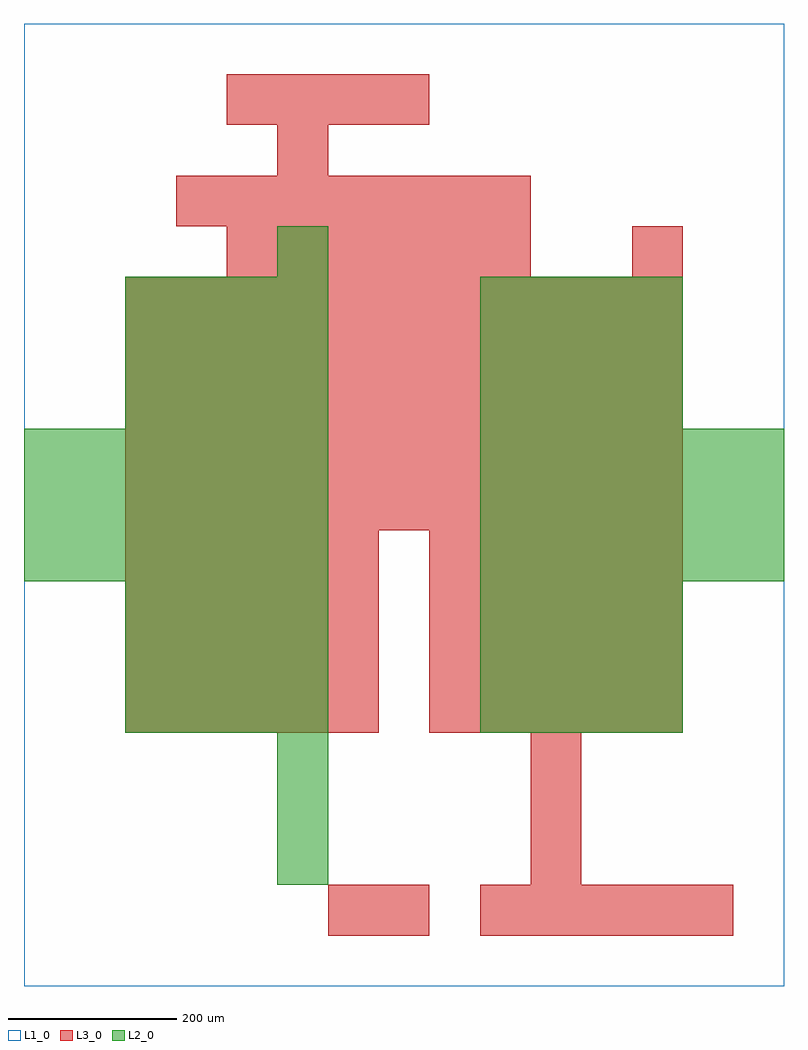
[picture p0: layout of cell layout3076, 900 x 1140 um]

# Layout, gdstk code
import gdstk
lib = gdstk.Library(unit=1e-6, precision=1e-09)
def R(c, l, rs):  # rectangles x0, y0, x1, y1
    for r in rs: c.add(gdstk.rectangle(r[:2], r[2:], *l))
def A(c, l, x, y, w, h, nx, ny, dx, dy):  # array of equal rectangles
    R(c, l, [(x+i*dx, y+j*dy, x+i*dx+w, y+j*dy+h) for i in range(nx) for j in range(ny)])
L1_0 = (1, 0)
L2_0 = (2, 0)
L3_0 = (3, 0)

layout3076 = lib.new_cell('layout3076')
R(layout3076, L1_0, [(0,0,900,1140)])
A(layout3076, L2_0, 300, 120, 60, 60, 1, 3, 0, 60)
A(layout3076, L2_0, 120, 300, 60, 60, 4, 3, 60, 60)
A(layout3076, L2_0, 540, 300, 60, 60, 4, 3, 60, 60)
A(layout3076, L2_0, 0, 480, 60, 60, 6, 3, 60, 60)
A(layout3076, L2_0, 540, 480, 60, 60, 6, 3, 60, 60)
A(layout3076, L2_0, 120, 660, 60, 60, 4, 3, 60, 60)
A(layout3076, L2_0, 540, 660, 60, 60, 4, 3, 60, 60)
R(layout3076, L2_0, [(300,840,360,900)])
A(layout3076, L3_0, 540, 60, 60, 60, 5, 1, 60, 0)
A(layout3076, L3_0, 600, 120, 60, 60, 1, 3, 0, 60)
A(layout3076, L3_0, 120, 300, 60, 60, 5, 4, 60, 60)
A(layout3076, L3_0, 480, 300, 60, 60, 5, 4, 60, 60)
A(layout3076, L3_0, 120, 540, 60, 60, 11, 5, 60, 60)
A(layout3076, L3_0, 240, 840, 60, 60, 6, 1, 60, 0)
A(layout3076, L3_0, 180, 900, 60, 60, 7, 1, 60, 0)
A(layout3076, L3_0, 240, 1020, 60, 60, 4, 1, 60, 0)
R(layout3076, L3_0, [(360,60,420,120), (420,60,480,120), (720,840,780,900), (300,960,360,1020)])

lib.write_gds('layout3076.gds')
